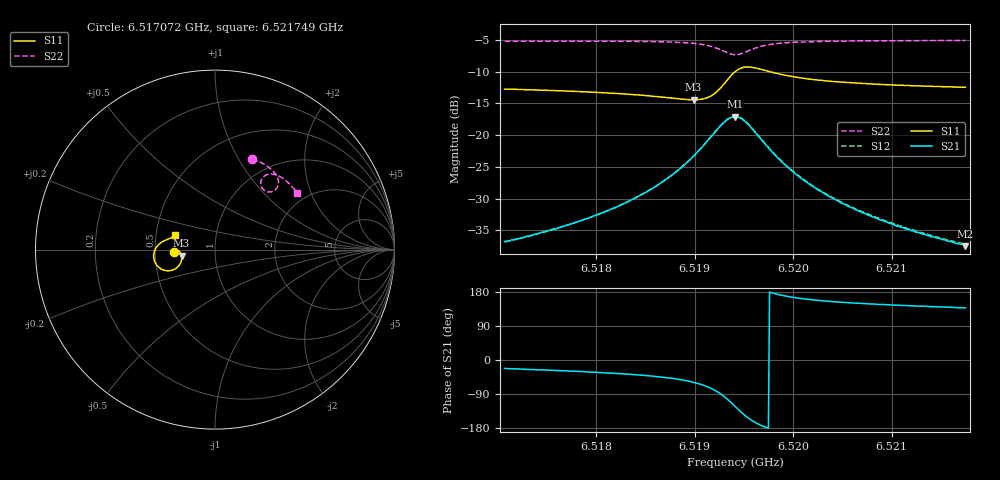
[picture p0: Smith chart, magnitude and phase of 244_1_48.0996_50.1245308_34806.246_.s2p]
#  HZ  S  RI  R  50.00
! Rohde & Schwarz Vector Network Analyzer
! Rohde-Schwarz,ZNB20-2Port,1311601062101988,3.16
! Created: UTC 12/23/2023, 3:59:05 AM
! freq[Hz]  re:S11  im:S11  re:S21  im:S21  re:S12  im:S12  re:S22  im:S22
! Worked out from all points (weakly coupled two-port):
!   401 points, 6.517072 GHz to 6.521749 GHz, reference 50 ohm
!   highest |S21| = -17.10 dB at 6.51941 GHz (marker M1); lowest = -37.5 dB at 6.521749 GHz (marker M2)
!   lowest |S11| = -14.4 dB at 6.51899 GHz (marker M3), VSWR 1.47, Z = 34.2 - j2.43 ohm
!   |S11| at or under -10 dB: start of sweep to 6.519413 GHz; 6.519759 GHz to end of sweep
!   |S22| runs from -7.3 to -5.1 dB; largest |S21 - S12| = 0.0042
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6.5170718e9  -0.2297 -0.0158  0.0134 -0.00542  0.0135 -0.00496  0.2081 0.5074
6.5174226e9  -0.2259 -0.0106  0.0153 -0.00725  0.0154 -0.00676  0.234 0.4963
6.5178552e9  -0.2197 -0.00559  0.0184 -0.0108  0.0187 -0.0101  0.2661 0.4801
6.5182294e9  -0.2121 -0.00375  0.0223 -0.0161  0.0229 -0.0155  0.2941 0.4625
6.5184399e9  -0.2067 -0.00495  0.0257 -0.0213  0.0264 -0.0204  0.3102 0.45
6.5186387e9  -0.2 -0.00874  0.0293 -0.0286  0.0303 -0.0278  0.3256 0.4356
6.5188141e9  -0.1931 -0.017  0.0331 -0.0394  0.0345 -0.0385  0.3392 0.4189
6.5189895e9  -0.1864 -0.0343  0.0352 -0.0583  0.0374 -0.0576  0.3508 0.3946
6.5191064e9  -0.186 -0.0557  0.0319 -0.0791  0.0344 -0.0786  0.3536 0.3714
6.5191883e9  -0.1933 -0.0776  0.0219 -0.0988  0.0251 -0.0988  0.3484 0.3508
6.5193169e9  -0.2367 -0.114  -0.0222 -0.1275  -0.0185 -0.1293  0.3148 0.3225
6.5194105e9  -0.2951 -0.1102  -0.0743 -0.1182  -0.0714 -0.1211  0.2745 0.33
6.5194572e9  -0.3204 -0.0914  -0.0947 -0.0988  -0.0926 -0.1025  0.2602 0.3466
6.5195157e9  -0.3382 -0.0595  -0.1069 -0.0692  -0.1058 -0.0729  0.2544 0.371
6.5196093e9  -0.3386 -0.0132  -0.1023 -0.0294  -0.1024 -0.0327  0.2666 0.4017
6.5197145e9  -0.3225 0.0186  -0.085 -0.00478  -0.0857 -0.00726  0.2897 0.4178
6.519925e9  -0.292 0.0447  -0.0565 0.0113  -0.0574 0.00988  0.3279 0.4204
6.5201939e9  -0.2687 0.0554  -0.0371 0.0143  -0.0377 0.0134  0.3601 0.4081
6.520498e9  -0.2537 0.0614  -0.0256 0.0135  -0.0264 0.0129  0.3861 0.391
6.5209774e9  -0.2393 0.0684  -0.0166 0.0114  -0.0174 0.0111  0.4177 0.3626
6.521375e9  -0.2309 0.0738  -0.0125 0.01  -0.0131 0.00996  0.4397 0.3384
6.5217492e9  -0.2242 0.0789  -0.00981 0.00902  -0.0103 0.00909  0.4583 0.3152
